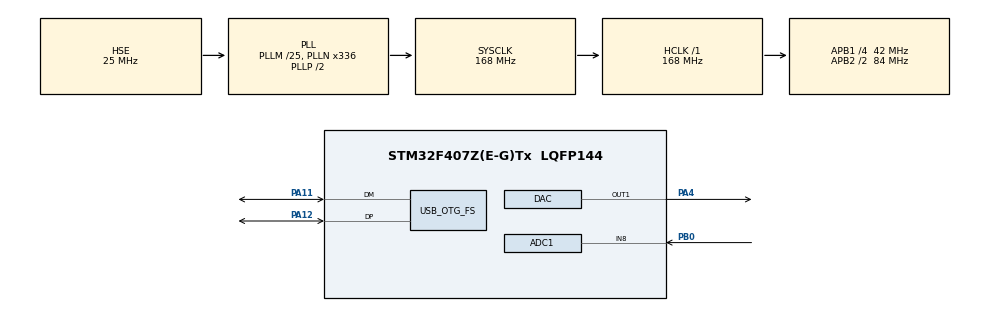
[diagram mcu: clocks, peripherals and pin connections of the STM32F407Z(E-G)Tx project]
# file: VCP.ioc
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ADC1.Channel-0\#ChannelRegularConversion=ADC_CHANNEL_8
ADC1.ContinuousConvMode=ENABLE
ADC1.DMAContinuousRequests=ENABLE
ADC1.ExternalTrigConv=ADC_EXTERNALTRIGCONV_T3_TRGO
ADC1.ExternalTrigConvEdge=ADC_EXTERNALTRIGCONVEDGE_RISING
ADC1.NbrOfConversionFlag=1
ADC1.Rank-0\#ChannelRegularConversion=1
ADC1.SamplingTime-0\#ChannelRegularConversion=ADC_SAMPLETIME_3CYCLES
ADC1.master=1
DAC.DAC_OutputBuffer=DAC_OUTPUTBUFFER_DISABLE
DAC.DAC_Trigger=DAC_TRIGGER_T6_TRGO
Dma.ADC1.1.Direction=DMA_PERIPH_TO_MEMORY
Dma.ADC1.1.FIFOMode=DMA_FIFOMODE_DISABLE
Dma.ADC1.1.Instance=DMA2_Stream0
Dma.ADC1.1.MemDataAlignment=DMA_MDATAALIGN_HALFWORD
Dma.ADC1.1.MemInc=DMA_MINC_ENABLE
Dma.ADC1.1.Mode=DMA_CIRCULAR
Dma.ADC1.1.PeriphDataAlignment=DMA_PDATAALIGN_HALFWORD
Dma.ADC1.1.PeriphInc=DMA_PINC_DISABLE
Dma.ADC1.1.Priority=DMA_PRIORITY_HIGH
Dma.DAC1.0.Direction=DMA_MEMORY_TO_PERIPH
Dma.DAC1.0.FIFOMode=DMA_FIFOMODE_ENABLE
Dma.DAC1.0.FIFOThreshold=DMA_FIFO_THRESHOLD_FULL
Dma.DAC1.0.Instance=DMA1_Stream5
Dma.DAC1.0.MemBurst=DMA_MBURST_SINGLE
Dma.DAC1.0.MemDataAlignment=DMA_MDATAALIGN_HALFWORD
Dma.DAC1.0.MemInc=DMA_MINC_ENABLE
Dma.DAC1.0.Mode=DMA_CIRCULAR
Dma.DAC1.0.PeriphBurst=DMA_PBURST_SINGLE
Dma.DAC1.0.PeriphDataAlignment=DMA_PDATAALIGN_HALFWORD
Dma.DAC1.0.PeriphInc=DMA_PINC_DISABLE
Dma.DAC1.0.Priority=DMA_PRIORITY_HIGH
Dma.Request0=DAC1
Dma.Request1=ADC1
Mcu.Family=STM32F4
Mcu.Name=STM32F407Z(E-G)Tx
Mcu.Package=LQFP144
NVIC.DMA1_Stream5_IRQn=true\:0\:0\:false\:false\:true\:false\:true\:true
NVIC.DMA2_Stream0_IRQn=true\:0\:0\:false\:false\:true\:false\:true\:true
NVIC.OTG_FS_IRQn=true\:0\:0\:false\:false\:true\:false\:true\:true
NVIC.PriorityGroup=NVIC_PRIORITYGROUP_4
NVIC.TIM8_TRG_COM_TIM14_IRQn=true\:1\:0\:true\:false\:true\:true\:true\:true
PA11.Mode=Device_Only
PA11.Signal=USB_OTG_FS_DM
PA12.Mode=Device_Only
PA12.Signal=USB_OTG_FS_DP
PA13.Mode=Serial_Wire
PA13.Signal=SYS_JTMS-SWDIO
PA14.Mode=Serial_Wire
PA14.Signal=SYS_JTCK-SWCLK
PA4.Signal=COMP_DAC1_group
PB0.Signal=ADCx_IN8
PH0-OSC_IN.Mode=HSE-External-Oscillator
PH0-OSC_IN.Signal=RCC_OSC_IN
PH1-OSC_OUT.Mode=HSE-External-Oscillator
PH1-OSC_OUT.Signal=RCC_OSC_OUT
ProjectManager.HeapSize=0x1000
ProjectManager.StackSize=0x400
ProjectManager.TargetToolchain=MDK-ARM V5.32
RCC.48MHZClocksFreq_Value=48000000
RCC.AHBFreq_Value=168000000
RCC.APB1CLKDivider=RCC_HCLK_DIV4
RCC.APB1Freq_Value=42000000
RCC.APB1TimFreq_Value=84000000
RCC.APB2CLKDivider=RCC_HCLK_DIV2
RCC.APB2Freq_Value=84000000
RCC.APB2TimFreq_Value=168000000
RCC.CortexFreq_Value=168000000
RCC.HCLKFreq_Value=168000000
RCC.HSE_VALUE=25000000
RCC.HSI_VALUE=16000000
RCC.PLLM=25
RCC.PLLN=336
RCC.PLLQ=7
RCC.SYSCLKFreq_VALUE=168000000
RCC.SYSCLKSource=RCC_SYSCLKSOURCE_PLLCLK
RCC.VCOOutputFreq_Value=336000000
SH.ADCx_IN8.0=ADC1_IN8,IN8
SH.COMP_DAC1_group.0=DAC_OUT1,DAC_OUT1
TIM14.AutoReloadPreload=TIM_AUTORELOAD_PRELOAD_ENABLE
TIM14.Period=2-1
TIM14.Prescaler=84-1
TIM3.AutoReloadPreload=TIM_AUTORELOAD_PRELOAD_ENABLE
TIM3.Period=84-1
TIM3.TIM_MasterOutputTrigger=TIM_TRGO_UPDATE
TIM6.AutoReloadPreload=TIM_AUTORELOAD_PRELOAD_ENABLE
TIM6.Period=1-1
TIM6.Prescaler=84-1
TIM6.TIM_MasterOutputTrigger=TIM_TRGO_UPDATE
USB_DEVICE.CLASS_NAME_FS=CDC
USB_DEVICE.VirtualMode-CDC_FS=Cdc
USB_DEVICE.VirtualModeFS=Cdc_FS
USB_OTG_FS.VirtualMode=Device_Only
VP_TIM14_VS_ClockSourceINT.Mode=Enable_Timer
VP_TIM3_VS_ClockSourceINT.Mode=Internal
VP_TIM6_VS_ClockSourceINT.Mode=Enable_Timer
VP_USB_DEVICE_VS_USB_DEVICE_CDC_FS.Mode=CDC_FS
board=custom

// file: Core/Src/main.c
/* USER CODE BEGIN Header */
/**
  ******************************************************************************
  * @file           : main.c
  * @brief          : Main program body
  ******************************************************************************
  * @attention
  *
  * Copyright (c) 2025 STMicroelectronics.
  * All rights reserved.
  *
  * This software is licensed under terms that can be found in the LICENSE file
  * in the root directory of this software component.
  * If no LICENSE file comes with this software, it is provided AS-IS.
  *
  ******************************************************************************
  */
/* USER CODE END Header */
#include "main.h"
#include "adc.h"
#include "dac.h"
#include "dma.h"
#include "tim.h"
#include "usb_device.h"
#include "gpio.h"

/* USER CODE BEGIN Includes */

#include "myusb.h"
#include "mytime.h"
#include "myadc.h"

/* USER CODE END Includes */

/* USER CODE BEGIN PV */

extern JustFloatVofa adc_frame;
extern volatile uint8_t half_flag; // DMA传输一半完成标志位
extern volatile uint8_t full_flag; // DMA传输全部完成标志位
extern uint16_t adc_PB0_data[];

/* USER CODE END PV */

void SystemClock_Config(void);

int main(void)
{

  /* USER CODE BEGIN 1 */

	  SCB_EnableICache();

		SCB_EnableDCache();

  /* USER CODE END 1 */

  /* MCU Configuration--------------------------------------------------------*/

  /* Reset of all peripherals, Initializes the Flash interface and the Systick. */
  HAL_Init();

  /* Configure the system clock */
  SystemClock_Config();

  /* Initialize all configured peripherals */
  MX_GPIO_Init();
  MX_DMA_Init();
  MX_USB_DEVICE_Init();
  MX_TIM14_Init();
  MX_DAC_Init();
  MX_TIM6_Init();
  MX_ADC1_Init();
  MX_TIM3_Init();
  /* USER CODE BEGIN 2 */

  JustFloatVofa_init(&adc_frame);//usb数据包初始化
  HAL_Delay(1);
  ADC_DMA_Start();

  //mytime_start(&htim14);

  /* USER CODE END 2 */

  /* Infinite loop */
  while (1)
  {

    /* USER CODE BEGIN 3 */
    if(half_flag) // DMA传输一半完成
    {
        half_flag = 0;
        // 处理前半部分数据
        for (uint16_t i = 0; i < ADC_DATA_SIZE / 2; i++) {
            adc_frame.fdata[i] = (float)(adc_PB0_data[i]*3.3/4096);
        }
        JustFloatVofa_setData(&adc_frame, adc_frame.fdata, ADC_DATA_SIZE / 2);
        JustFloatVofa_send(&adc_frame);
    }
    if(full_flag) // DMA传输全部完成
    {
        full_flag = 0;
        // 处理后半部分数据
        for (uint16_t i = ADC_DATA_SIZE / 2; i < ADC_DATA_SIZE; i++) {
            adc_frame.fdata[i] = (float)(adc_PB0_data[i]*3.3/4096);
        }
        JustFloatVofa_setData(&adc_frame, &adc_frame.fdata[ADC_DATA_SIZE / 2], ADC_DATA_SIZE / 2);
        JustFloatVofa_send(&adc_frame);
    }

  }
  /* USER CODE END 3 */
}

void SystemClock_Config(void)
{
  RCC_OscInitTypeDef RCC_OscInitStruct = {0};
  RCC_ClkInitTypeDef RCC_ClkInitStruct = {0};

  /** Configure the main internal regulator output voltage
  */
  __HAL_RCC_PWR_CLK_ENABLE();
  __HAL_PWR_VOLTAGESCALING_CONFIG(PWR_REGULATOR_VOLTAGE_SCALE1);

  /** Initializes the RCC Oscillators according to the specified parameters
  * in the RCC_OscInitTypeDef structure.
  */
  RCC_OscInitStruct.OscillatorType = RCC_OSCILLATORTYPE_HSE;
  RCC_OscInitStruct.HSEState = RCC_HSE_ON;
  RCC_OscInitStruct.PLL.PLLState = RCC_PLL_ON;
  RCC_OscInitStruct.PLL.PLLSource = RCC_PLLSOURCE_HSE;
  RCC_OscInitStruct.PLL.PLLM = 25;
  RCC_OscInitStruct.PLL.PLLN = 336;
  RCC_OscInitStruct.PLL.PLLP = RCC_PLLP_DIV2;
  RCC_OscInitStruct.PLL.PLLQ = 7;
  if (HAL_RCC_OscConfig(&RCC_OscInitStruct) != HAL_OK)
  {
    Error_Handler();
  }

  /** Initializes the CPU, AHB and APB buses clocks
  */
  RCC_ClkInitStruct.ClockType = RCC_CLOCKTYPE_HCLK|RCC_CLOCKTYPE_SYSCLK
                              |RCC_CLOCKTYPE_PCLK1|RCC_CLOCKTYPE_PCLK2;
  RCC_ClkInitStruct.SYSCLKSource = RCC_SYSCLKSOURCE_PLLCLK;
  RCC_ClkInitStruct.AHBCLKDivider = RCC_SYSCLK_DIV1;
  RCC_ClkInitStruct.APB1CLKDivider = RCC_HCLK_DIV4;
  RCC_ClkInitStruct.APB2CLKDivider = RCC_HCLK_DIV2;

  if (HAL_RCC_ClockConfig(&RCC_ClkInitStruct, FLASH_LATENCY_5) != HAL_OK)
  {
    Error_Handler();
  }
}

void Error_Handler(void)
{
  __disable_irq();
  while (1)
  {
  }
}
